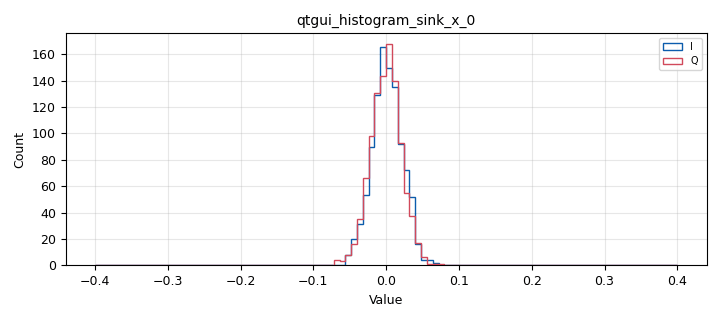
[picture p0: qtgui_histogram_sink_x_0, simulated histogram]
<?xml version='1.0' encoding='utf-8'?>
<?grc format='1' created='3.7.13'?>
<flow_graph>
<block>
<key>options</key>
<param><key>id</key><value>NsfPing</value></param>
<param><key>author</key><value>Glen Langston</value></param>
<param><key>description</key><value>Diagnostic test design</value></param>
<param><key>generate_options</key><value>qt_gui</value></param>
<param><key>realtime_scheduling</key><value>1</value></param>
<param><key>title</key><value>Test Signal.  Adds a Short pulse in a narrow Band</value></param>
</block>
<block>
<key>variable_qtgui_entry</key>
<param><key>id</key><value>Attn1</value></param>
<param><key>value</key><value>80</value></param>
<param><key>gui_hint</key><value>1,0,1,2</value></param>
<param><key>label</key><value>Attn1</value></param>
<param><key>type</key><value>real</value></param>
</block>
<block>
<key>variable</key>
<param><key>id</key><value>Bandwidth</value></param>
<param><key>value</key><value>2e6</value></param>
</block>
<block>
<key>variable_qtgui_chooser</key>
<param><key>id</key><value>EventMode</value></param>
<param><key>value</key><value>0</value></param>
<param><key>gui_hint</key><value>5,0, 1, 2</value></param>
<param><key>label0</key><value>Wait</value></param>
<param><key>label1</key><value>Write</value></param>
<param><key>label</key><value>Write Mode</value></param>
<param><key>num_opts</key><value>2</value></param>
<param><key>option0</key><value>0</value></param>
<param><key>option1</key><value>1</value></param>
<param><key>type</key><value>int</value></param>
</block>
<block>
<key>variable_qtgui_entry</key>
<param><key>id</key><value>FreqMHz</value></param>
<param><key>value</key><value>1398</value></param>
<param><key>gui_hint</key><value>0,2,1,2</value></param>
<param><key>label</key><value>Freq (MHz)</value></param>
<param><key>type</key><value>real</value></param>
</block>
<block>
<key>variable</key>
<param><key>id</key><value>Frequency</value></param>
<param><key>value</key><value>FreqMHz*1.E6</value></param>
</block>
<block>
<key>variable_qtgui_entry</key>
<param><key>id</key><value>Gain1</value></param>
<param><key>value</key><value>40</value></param>
<param><key>gui_hint</key><value>0,0,1,2</value></param>
<param><key>label</key><value>Gain1</value></param>
<param><key>type</key><value>real</value></param>
</block>
<block>
<key>variable</key>
<param><key>id</key><value>H1</value></param>
<param><key>value</key><value>1420.406E6</value></param>
</block>
<block>
<key>variable_qtgui_chooser</key>
<param><key>id</key><value>Mode</value></param>
<param><key>value</key><value>2</value></param>
<param><key>gui_hint</key><value>6,0,1,2</value></param>
<param><key>label0</key><value>Monitor</value></param>
<param><key>label1</key><value>Detect</value></param>
<param><key>label</key><value>Data Mode</value></param>
<param><key>num_opts</key><value>2</value></param>
<param><key>option0</key><value>0</value></param>
<param><key>option1</key><value>2</value></param>
<param><key>type</key><value>int</value></param>
</block>
<block>
<key>variable</key>
<param><key>id</key><value>Offset</value></param>
<param><key>value</key><value>OffsetMHz*1.E6</value></param>
</block>
<block>
<key>variable_qtgui_entry</key>
<param><key>id</key><value>OffsetMHz</value></param>
<param><key>value</key><value>0.111</value></param>
<param><key>gui_hint</key><value>1,2,1,2</value></param>
<param><key>label</key><value>OffsetMHz)</value></param>
<param><key>type</key><value>real</value></param>
</block>
<block>
<key>variable</key>
<param><key>id</key><value>fftsize</value></param>
<param><key>value</key><value>1024</value></param>
</block>
<block>
<key>variable_qtgui_range</key>
<param><key>id</key><value>nsigma</value></param>
<param><key>value</key><value>4.5</value></param>
<param><key>gui_hint</key><value>6,2,1,1</value></param>
<param><key>label</key><value>N Sigma</value></param>
<param><key>min_len</key><value>100</value></param>
<param><key>orient</key><value>Qt.Horizontal</value></param>
<param><key>start</key><value>0.</value></param>
<param><key>step</key><value>.1</value></param>
<param><key>stop</key><value>10.</value></param>
<param><key>widget</key><value>counter</value></param>
</block>
<block>
<key>variable</key>
<param><key>id</key><value>samp_rate</value></param>
<param><key>value</key><value>1000</value></param>
</block>
<block>
<key>qtgui_number_sink</key>
<param><key>id</key><value>Ping</value></param>
<param><key>gui_hint</key><value>0,4,2,5</value></param>
<param><key>graph_type</key><value>qtgui.NUM_GRAPH_HORIZ</value></param>
<param><key>type</key><value>float</value></param>
<param><key>label1</key><value>Ping</value></param>
<param><key>min</key><value>0.</value></param>
<param><key>name</key><value>"Ramp"</value></param>
<param><key>update_time</key><value>0.5</value></param>
</block>
<block>
<key>analog_noise_source_x</key>
<param><key>id</key><value>analog_noise_source_x_0</value></param>
<param><key>amp</key><value>.15</value></param>
<param><key>noise_type</key><value>analog.GR_GAUSSIAN</value></param>
<param><key>type</key><value>complex</value></param>
<param><key>seed</key><value>0</value></param>
</block>
<block>
<key>analog_sig_source_x</key>
<param><key>id</key><value>analog_sig_source_x_0</value></param>
<param><key>amp</key><value>1.00001</value></param>
<param><key>freq</key><value>.0002</value></param>
<param><key>offset</key><value>0</value></param>
<param><key>type</key><value>float</value></param>
<param><key>samp_rate</key><value>samp_rate</value></param>
<param><key>waveform</key><value>analog.GR_SAW_WAVE</value></param>
</block>
<block>
<key>blocks_add_xx</key>
<param><key>id</key><value>blocks_add_xx_0</value></param>
<param><key>type</key><value>complex</value></param>
</block>
<block>
<key>blocks_complex_to_float</key>
<param><key>id</key><value>blocks_complex_to_float_0</value></param>
</block>
<block>
<key>blocks_float_to_complex</key>
<param><key>id</key><value>blocks_float_to_complex_0</value></param>
</block>
<block>
<key>blocks_multiply_const_vxx</key>
<param><key>id</key><value>blocks_multiply_const_vxx_0</value></param>
<param><key>const</key><value>0.2</value></param>
<param><key>type</key><value>complex</value></param>
</block>
<block>
<key>blocks_multiply_const_vxx</key>
<param><key>id</key><value>blocks_multiply_const_vxx_0_1</value></param>
<param><key>const</key><value>10</value></param>
<param><key>type</key><value>float</value></param>
</block>
<block>
<key>blocks_multiply_xx</key>
<param><key>id</key><value>blocks_multiply_xx_0</value></param>
<param><key>type</key><value>complex</value></param>
</block>
<block>
<key>blocks_stream_to_vector</key>
<param><key>id</key><value>blocks_stream_to_vector_0</value></param>
<param><key>type</key><value>complex</value></param>
<param><key>num_items</key><value>fftsize</value></param>
</block>
<block>
<key>blocks_threshold_ff</key>
<param><key>id</key><value>blocks_threshold_ff_0</value></param>
<param><key>high</key><value>1.</value></param>
<param><key>init</key><value>1.</value></param>
<param><key>low</key><value>.999999</value></param>
<param><key>maxoutbuf</key><value>1</value></param>
</block>
<block>
<key>blocks_vector_to_stream</key>
<param><key>id</key><value>blocks_vector_to_stream_0</value></param>
<param><key>type</key><value>complex</value></param>
<param><key>num_items</key><value>fftsize</value></param>
</block>
<block>
<key>pluto_sink</key>
<param><key>id</key><value>pluto_sink_0</value></param>
<param><key>attenuation</key><value>float(Attn1)</value></param>
<param><key>buffer_size</key><value>0x8000</value></param>
<param><key>cyclic</key><value>False</value></param>
<param><key>auto_filter</key><value>True</value></param>
<param><key>filter</key><value></value></param>
<param><key>uri</key><value></value></param>
<param><key>frequency</key><value>float(Frequency+Offset)</value></param>
<param><key>bandwidth</key><value>20000000</value></param>
<param><key>samplerate</key><value>float(Bandwidth)</value></param>
</block>
<block>
<key>qtgui_histogram_sink_x</key>
<param><key>id</key><value>qtgui_histogram_sink_x_0</value></param>
<param><key>gui_hint</key><value>2,0,3,2</value></param>
<param><key>label1</key><value>I</value></param>
<param><key>label2</key><value>Q</value></param>
<param><key>xmax</key><value>.4</value></param>
<param><key>xmin</key><value>-.4</value></param>
<param><key>bins</key><value>100</value></param>
<param><key>nconnections</key><value>2</value></param>
<param><key>size</key><value>fftsize</value></param>
<param><key>type</key><value>float</value></param>
<param><key>update_time</key><value>1.</value></param>
</block>
<block>
<key>qtgui_time_sink_x</key>
<param><key>id</key><value>qtgui_time_sink_x_0_0</value></param>
<param><key>autoscale</key><value>True</value></param>
<param><key>gui_hint</key><value>2,3,5,6</value></param>
<param><key>color1</key><value>"blue"</value></param>
<param><key>label1</key><value>I</value></param>
<param><key>color2</key><value>"red"</value></param>
<param><key>label2</key><value>Q</value></param>
<param><key>size</key><value>fftsize</value></param>
<param><key>srate</key><value>Bandwidth</value></param>
<param><key>type</key><value>complex</value></param>
<param><key>update_time</key><value>1</value></param>
<param><key>ylabel</key><value>Event</value></param>
<param><key>ymax</key><value>.3</value></param>
<param><key>ymin</key><value>-.3</value></param>
</block>
<block>
<key>radio_astro_detect</key>
<param><key>id</key><value>radio_astro_detect_0</value></param>
<param><key>mode</key><value>Mode</value></param>
<param><key>dms</key><value>nsigma</value></param>
<param><key>bw</key><value>Bandwidth</value></param>
<param><key>f_obs</key><value>Frequency</value></param>
<param><key>t_int</key><value>fftsize*1.e-6/Bandwidth</value></param>
<param><key>vec_length</key><value>fftsize</value></param>
</block>
<block>
<key>radio_astro_ra_event_log</key>
<param><key>id</key><value>radio_astro_ra_event_log_0</value></param>
<param><key>logname</key><value></value></param>
<param><key>note</key><value>Event Detection</value></param>
<param><key>sample_rate</key><value>Bandwidth</value></param>
<param><key>vlen</key><value>fftsize</value></param>
</block>
<block>
<key>radio_astro_ra_event_sink</key>
<param><key>id</key><value>radio_astro_ra_event_sink_0</value></param>
<param><key>azimuth</key><value>0.</value></param>
<param><key>sample_rate</key><value>Bandwidth</value></param>
<param><key>device</key><value></value></param>
<param><key>elevation</key><value>90.</value></param>
<param><key>frequency</key><value>Frequency*1.E-6</value></param>
<param><key>gain1</key><value>Gain1</value></param>
<param><key>note</key><value>Event Detection</value></param>
<param><key>observer</key><value>Science Aficionados</value></param>
<param><key>record</key><value>EventMode</value></param>
<param><key>setup</key><value>Detect40.not</value></param>
<param><key>telescope</key><value>My Horn</value></param>
<param><key>vlen</key><value>fftsize</value></param>
</block>
<connection><source_block_id>analog_noise_source_x_0</source_block_id><sink_block_id>blocks_add_xx_0</sink_block_id><source_key>0</source_key><sink_key>1</sink_key></connection>
<connection><source_block_id>analog_noise_source_x_0</source_block_id><sink_block_id>blocks_multiply_xx_0</sink_block_id><source_key>0</source_key><sink_key>1</sink_key></connection>
<connection><source_block_id>analog_sig_source_x_0</source_block_id><sink_block_id>Ping</sink_block_id><source_key>0</source_key><sink_key>0</sink_key></connection>
<connection><source_block_id>analog_sig_source_x_0</source_block_id><sink_block_id>blocks_threshold_ff_0</sink_block_id><source_key>0</source_key><sink_key>0</sink_key></connection>
<connection><source_block_id>blocks_add_xx_0</source_block_id><sink_block_id>blocks_multiply_const_vxx_0</sink_block_id><source_key>0</source_key><sink_key>0</sink_key></connection>
<connection><source_block_id>blocks_complex_to_float_0</source_block_id><sink_block_id>qtgui_histogram_sink_x_0</sink_block_id><source_key>1</source_key><sink_key>1</sink_key></connection>
<connection><source_block_id>blocks_complex_to_float_0</source_block_id><sink_block_id>qtgui_histogram_sink_x_0</sink_block_id><source_key>0</source_key><sink_key>0</sink_key></connection>
<connection><source_block_id>blocks_float_to_complex_0</source_block_id><sink_block_id>blocks_multiply_xx_0</sink_block_id><source_key>0</source_key><sink_key>0</sink_key></connection>
<connection><source_block_id>blocks_multiply_const_vxx_0</source_block_id><sink_block_id>blocks_complex_to_float_0</sink_block_id><source_key>0</source_key><sink_key>0</sink_key></connection>
<connection><source_block_id>blocks_multiply_const_vxx_0</source_block_id><sink_block_id>blocks_stream_to_vector_0</sink_block_id><source_key>0</source_key><sink_key>0</sink_key></connection>
<connection><source_block_id>blocks_multiply_const_vxx_0</source_block_id><sink_block_id>pluto_sink_0</sink_block_id><source_key>0</source_key><sink_key>0</sink_key></connection>
<connection><source_block_id>blocks_multiply_const_vxx_0_1</source_block_id><sink_block_id>blocks_float_to_complex_0</sink_block_id><source_key>0</source_key><sink_key>1</sink_key></connection>
<connection><source_block_id>blocks_multiply_const_vxx_0_1</source_block_id><sink_block_id>blocks_float_to_complex_0</sink_block_id><source_key>0</source_key><sink_key>0</sink_key></connection>
<connection><source_block_id>blocks_multiply_xx_0</source_block_id><sink_block_id>blocks_add_xx_0</sink_block_id><source_key>0</source_key><sink_key>0</sink_key></connection>
<connection><source_block_id>blocks_stream_to_vector_0</source_block_id><sink_block_id>radio_astro_detect_0</sink_block_id><source_key>0</source_key><sink_key>0</sink_key></connection>
<connection><source_block_id>blocks_threshold_ff_0</source_block_id><sink_block_id>blocks_multiply_const_vxx_0_1</sink_block_id><source_key>0</source_key><sink_key>0</sink_key></connection>
<connection><source_block_id>blocks_vector_to_stream_0</source_block_id><sink_block_id>qtgui_time_sink_x_0_0</sink_block_id><source_key>0</source_key><sink_key>0</sink_key></connection>
<connection><source_block_id>radio_astro_detect_0</source_block_id><sink_block_id>blocks_vector_to_stream_0</sink_block_id><source_key>0</source_key><sink_key>0</sink_key></connection>
<connection><source_block_id>radio_astro_detect_0</source_block_id><sink_block_id>radio_astro_ra_event_log_0</sink_block_id><source_key>0</source_key><sink_key>0</sink_key></connection>
<connection><source_block_id>radio_astro_detect_0</source_block_id><sink_block_id>radio_astro_ra_event_sink_0</sink_block_id><source_key>0</source_key><sink_key>0</sink_key></connection>
</flow_graph>
